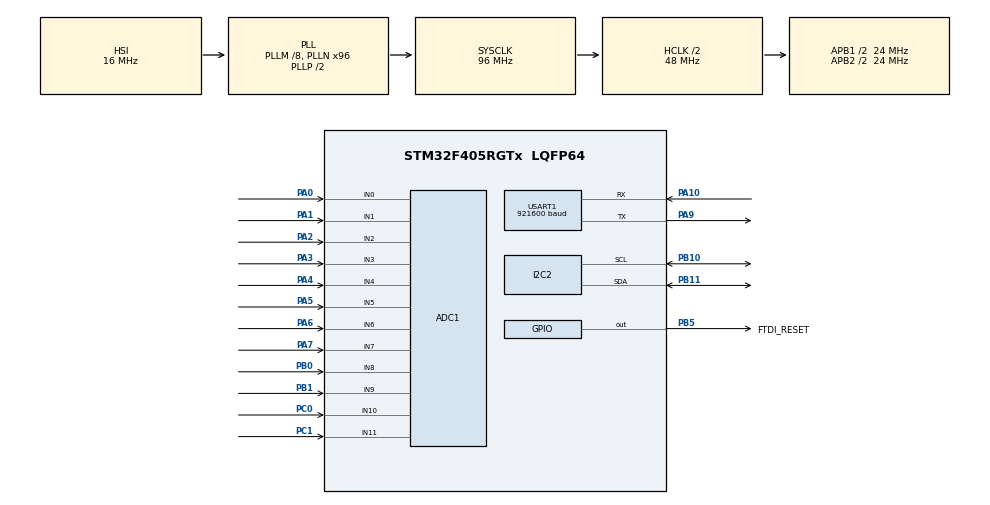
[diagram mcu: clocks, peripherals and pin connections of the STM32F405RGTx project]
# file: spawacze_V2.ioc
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ADC1.Channel-0\#ChannelRegularConversion=ADC_CHANNEL_0
ADC1.Channel-1\#ChannelRegularConversion=ADC_CHANNEL_1
ADC1.Channel-10\#ChannelRegularConversion=ADC_CHANNEL_10
ADC1.Channel-11\#ChannelRegularConversion=ADC_CHANNEL_11
ADC1.Channel-12\#ChannelRegularConversion=ADC_CHANNEL_TEMPSENSOR
ADC1.Channel-2\#ChannelRegularConversion=ADC_CHANNEL_2
ADC1.Channel-3\#ChannelRegularConversion=ADC_CHANNEL_3
ADC1.Channel-4\#ChannelRegularConversion=ADC_CHANNEL_4
ADC1.Channel-5\#ChannelRegularConversion=ADC_CHANNEL_5
ADC1.Channel-6\#ChannelRegularConversion=ADC_CHANNEL_6
ADC1.Channel-7\#ChannelRegularConversion=ADC_CHANNEL_7
ADC1.Channel-8\#ChannelRegularConversion=ADC_CHANNEL_8
ADC1.Channel-9\#ChannelRegularConversion=ADC_CHANNEL_9
ADC1.ContinuousConvMode=ENABLE
ADC1.DMAContinuousRequests=ENABLE
ADC1.ExternalTrigConv=ADC_SOFTWARE_START
ADC1.NbrOfConversion=13
ADC1.NbrOfConversionFlag=1
ADC1.Rank-0\#ChannelRegularConversion=1
ADC1.Rank-1\#ChannelRegularConversion=2
ADC1.Rank-10\#ChannelRegularConversion=11
ADC1.Rank-11\#ChannelRegularConversion=12
ADC1.Rank-12\#ChannelRegularConversion=13
ADC1.Rank-2\#ChannelRegularConversion=3
ADC1.Rank-3\#ChannelRegularConversion=4
ADC1.Rank-4\#ChannelRegularConversion=5
ADC1.Rank-5\#ChannelRegularConversion=6
ADC1.Rank-6\#ChannelRegularConversion=7
ADC1.Rank-7\#ChannelRegularConversion=8
ADC1.Rank-8\#ChannelRegularConversion=9
ADC1.Rank-9\#ChannelRegularConversion=10
ADC1.SamplingTime-0\#ChannelRegularConversion=ADC_SAMPLETIME_3CYCLES
ADC1.SamplingTime-1\#ChannelRegularConversion=ADC_SAMPLETIME_3CYCLES
ADC1.SamplingTime-10\#ChannelRegularConversion=ADC_SAMPLETIME_3CYCLES
ADC1.SamplingTime-11\#ChannelRegularConversion=ADC_SAMPLETIME_3CYCLES
ADC1.SamplingTime-12\#ChannelRegularConversion=ADC_SAMPLETIME_3CYCLES
ADC1.SamplingTime-2\#ChannelRegularConversion=ADC_SAMPLETIME_3CYCLES
ADC1.SamplingTime-3\#ChannelRegularConversion=ADC_SAMPLETIME_3CYCLES
ADC1.SamplingTime-4\#ChannelRegularConversion=ADC_SAMPLETIME_3CYCLES
ADC1.SamplingTime-5\#ChannelRegularConversion=ADC_SAMPLETIME_3CYCLES
ADC1.SamplingTime-6\#ChannelRegularConversion=ADC_SAMPLETIME_3CYCLES
ADC1.SamplingTime-7\#ChannelRegularConversion=ADC_SAMPLETIME_3CYCLES
ADC1.SamplingTime-8\#ChannelRegularConversion=ADC_SAMPLETIME_3CYCLES
ADC1.SamplingTime-9\#ChannelRegularConversion=ADC_SAMPLETIME_3CYCLES
ADC1.ScanConvMode=ENABLE
ADC1.master=1
Dma.ADC1.0.Direction=DMA_PERIPH_TO_MEMORY
Dma.ADC1.0.FIFOMode=DMA_FIFOMODE_DISABLE
Dma.ADC1.0.Instance=DMA2_Stream0
Dma.ADC1.0.MemDataAlignment=DMA_MDATAALIGN_HALFWORD
Dma.ADC1.0.MemInc=DMA_MINC_ENABLE
Dma.ADC1.0.Mode=DMA_CIRCULAR
Dma.ADC1.0.PeriphDataAlignment=DMA_PDATAALIGN_HALFWORD
Dma.ADC1.0.PeriphInc=DMA_PINC_DISABLE
Dma.ADC1.0.Priority=DMA_PRIORITY_LOW
Dma.I2C2_RX.2.Direction=DMA_PERIPH_TO_MEMORY
Dma.I2C2_RX.2.FIFOMode=DMA_FIFOMODE_DISABLE
Dma.I2C2_RX.2.Instance=DMA1_Stream2
Dma.I2C2_RX.2.MemDataAlignment=DMA_MDATAALIGN_BYTE
Dma.I2C2_RX.2.MemInc=DMA_MINC_ENABLE
Dma.I2C2_RX.2.Mode=DMA_NORMAL
Dma.I2C2_RX.2.PeriphDataAlignment=DMA_PDATAALIGN_BYTE
Dma.I2C2_RX.2.PeriphInc=DMA_PINC_DISABLE
Dma.I2C2_RX.2.Priority=DMA_PRIORITY_MEDIUM
Dma.I2C2_TX.3.Direction=DMA_MEMORY_TO_PERIPH
Dma.I2C2_TX.3.FIFOMode=DMA_FIFOMODE_DISABLE
Dma.I2C2_TX.3.Instance=DMA1_Stream7
Dma.I2C2_TX.3.MemDataAlignment=DMA_MDATAALIGN_BYTE
Dma.I2C2_TX.3.MemInc=DMA_MINC_ENABLE
Dma.I2C2_TX.3.Mode=DMA_NORMAL
Dma.I2C2_TX.3.PeriphDataAlignment=DMA_PDATAALIGN_BYTE
Dma.I2C2_TX.3.PeriphInc=DMA_PINC_DISABLE
Dma.I2C2_TX.3.Priority=DMA_PRIORITY_MEDIUM
Dma.Request0=ADC1
Dma.Request1=USART1_TX
Dma.Request2=I2C2_RX
Dma.Request3=I2C2_TX
Dma.USART1_TX.1.Direction=DMA_MEMORY_TO_PERIPH
Dma.USART1_TX.1.FIFOMode=DMA_FIFOMODE_DISABLE
Dma.USART1_TX.1.Instance=DMA2_Stream7
Dma.USART1_TX.1.MemDataAlignment=DMA_MDATAALIGN_BYTE
Dma.USART1_TX.1.MemInc=DMA_MINC_ENABLE
Dma.USART1_TX.1.Mode=DMA_NORMAL
Dma.USART1_TX.1.PeriphDataAlignment=DMA_PDATAALIGN_BYTE
Dma.USART1_TX.1.PeriphInc=DMA_PINC_DISABLE
Dma.USART1_TX.1.Priority=DMA_PRIORITY_LOW
Mcu.Family=STM32F4
Mcu.Name=STM32F405RGTx
Mcu.Package=LQFP64
NVIC.DMA1_Stream2_IRQn=true\:0\:0\:false\:false\:true\:false\:true
NVIC.DMA1_Stream7_IRQn=true\:0\:0\:false\:false\:true\:false\:true
NVIC.DMA2_Stream0_IRQn=true\:0\:0\:false\:false\:true\:false\:true
NVIC.DMA2_Stream7_IRQn=true\:0\:0\:false\:false\:true\:false\:true
NVIC.I2C2_EV_IRQn=true\:2\:0\:true\:false\:true\:true\:true
NVIC.PriorityGroup=NVIC_PRIORITYGROUP_4
NVIC.TIM2_IRQn=true\:0\:0\:false\:false\:true\:true\:true
NVIC.USART1_IRQn=true\:1\:0\:true\:false\:true\:true\:true
PA0-WKUP.Signal=ADCx_IN0
PA1.Signal=ADCx_IN1
PA10.Mode=Asynchronous
PA10.Signal=USART1_RX
PA13.Mode=Serial_Wire
PA13.Signal=SYS_JTMS-SWDIO
PA14.Mode=Serial_Wire
PA14.Signal=SYS_JTCK-SWCLK
PA2.Signal=ADCx_IN2
PA3.Signal=ADCx_IN3
PA4.Signal=ADCx_IN4
PA5.Signal=ADCx_IN5
PA6.Signal=ADCx_IN6
PA7.Signal=ADCx_IN7
PA9.Mode=Asynchronous
PA9.Signal=USART1_TX
PB0.Signal=ADCx_IN8
PB1.Signal=ADCx_IN9
PB10.GPIO_PuPdOD=GPIO_NOPULL
PB10.GPIO_Speed=GPIO_SPEED_FREQ_LOW
PB10.Mode=I2C
PB10.Signal=I2C2_SCL
PB11.GPIO_PuPdOD=GPIO_NOPULL
PB11.GPIO_Speed=GPIO_SPEED_FREQ_LOW
PB11.Mode=I2C
PB11.Signal=I2C2_SDA
PB5.GPIO_Label=FTDI_RESET
PB5.PinState=GPIO_PIN_SET
PB5.Signal=GPIO_Output
PC0.Signal=ADCx_IN10
PC1.Signal=ADCx_IN11
PH0-OSC_IN.Mode=HSE-External-Clock-Source
PH0-OSC_IN.Signal=RCC_OSC_IN
PH1-OSC_OUT.Mode=HSE-External-Clock-Source
PH1-OSC_OUT.Signal=RCC_OSC_OUT
ProjectManager.HeapSize=0x200
ProjectManager.StackSize=0x400
ProjectManager.TargetToolchain=SW4STM32
RCC.48MHZClocksFreq_Value=48000000
RCC.AHBCLKDivider=RCC_SYSCLK_DIV2
RCC.AHBFreq_Value=48000000
RCC.APB1CLKDivider=RCC_HCLK_DIV2
RCC.APB1Freq_Value=24000000
RCC.APB1TimFreq_Value=48000000
RCC.APB2CLKDivider=RCC_HCLK_DIV2
RCC.APB2Freq_Value=24000000
RCC.APB2TimFreq_Value=48000000
RCC.CortexFreq_Value=48000000
RCC.HCLKFreq_Value=48000000
RCC.HSE_VALUE=16800000
RCC.HSI_VALUE=16000000
RCC.LSE_VALUE=32768
RCC.PLLM=8
RCC.PLLN=96
RCC.SYSCLKFreq_VALUE=96000000
RCC.SYSCLKSource=RCC_SYSCLKSOURCE_PLLCLK
RCC.VCOOutputFreq_Value=192000000
SH.ADCx_IN0.0=ADC1_IN0,IN0
SH.ADCx_IN1.0=ADC1_IN1,IN1
SH.ADCx_IN10.0=ADC1_IN10,IN10
SH.ADCx_IN11.0=ADC1_IN11,IN11
SH.ADCx_IN2.0=ADC1_IN2,IN2
SH.ADCx_IN3.0=ADC1_IN3,IN3
SH.ADCx_IN4.0=ADC1_IN4,IN4
SH.ADCx_IN5.0=ADC1_IN5,IN5
SH.ADCx_IN6.0=ADC1_IN6,IN6
SH.ADCx_IN7.0=ADC1_IN7,IN7
SH.ADCx_IN8.0=ADC1_IN8,IN8
SH.ADCx_IN9.0=ADC1_IN9,IN9
TIM2.Period=2
TIM2.Prescaler=8400
TIM2.TIM_MasterOutputTrigger=TIM_TRGO_UPDATE
USART1.BaudRate=921600
USART1.VirtualMode=VM_ASYNC
VP_ADC1_TempSens_Input.Mode=IN-TempSens
VP_TIM2_VS_ClockSourceINT.Mode=Internal
board=custom

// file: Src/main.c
/* USER CODE BEGIN Header */
/**
  ******************************************************************************
  * @file           : main.c
  * @brief          : Main program body
  ******************************************************************************
  * @attention
  *
  * <h2><center>&copy; Copyright (c) 2019 STMicroelectronics.
  * All rights reserved.</center></h2>
  *
  * This software component is licensed by ST under BSD 3-Clause license,
  * the "License"; You may not use this file except in compliance with the
  * License. You may obtain a copy of the License at:
  *                        opensource.org/licenses/BSD-3-Clause
  *
  ******************************************************************************
  */
/* USER CODE END Header */

#include "main.h"
#include "adc.h"
#include "dma.h"
#include "i2c.h"
#include "tim.h"
#include "usart.h"
#include "gpio.h"

/* USER CODE BEGIN Includes */
#include "MCP4661.h"
#include "UART_Parser.h"
/* USER CODE END Includes */

void SystemClock_Config(void);

/* USER CODE BEGIN 0 */
uint16_t adcValue[13];
float adcValueFloat[13];
extern uint8_t receivedData;
uint8_t measureFlag = 0;
/* USER CODE END 0 */

int main(void)
{

  /* MCU Configuration--------------------------------------------------------*/

  /* Reset of all peripherals, Initializes the Flash interface and the Systick. */
  HAL_Init();

  /* Configure the system clock */
  SystemClock_Config();

  /* Initialize all configured peripherals */
  MX_GPIO_Init();
  MX_DMA_Init();
  MX_I2C2_Init();
  MX_ADC1_Init();
  MX_USART1_UART_Init();
  MX_TIM2_Init();
  /* USER CODE BEGIN 2 */
 // HAL_GPIO_WritePin(FTDI_RESET_GPIO_Port,FTDI_RESET_Pin,GPIO_PIN_SET);
  HAL_TIM_Base_Start_IT(&htim2);
  HAL_ADC_Start_DMA(&hadc1,adcValue,13);
  HAL_UART_Receive_IT(&huart1, &receivedData, 1);
  uint8_t buffer[] = "test\n\r";
  /* USER CODE END 2 */

  /* Infinite loop */
  /* USER CODE BEGIN WHILE */
  while (1)
  {

//	  HAL_UART_Transmit(&huart1,buffer,sizeof(buffer),1);
//	  HAL_Delay(100);
//	  continue;
	  HAL_UART_Transmit_DMA(&huart1,buffer,sizeof(buffer));
	  for(uint16_t i = 0;i < 0x100;i++)
	  {
	//	  MCP4661_IncrementWiper(0,0);
	//	  MCP4661_IncrementWiper(0,1);
//
//		MCP4661_IncrementWiper(1,1);
//		MCP4661_IncrementWiper(1,0);
//		MCP4661_IncrementWiper(2,1);
//		MCP4661_IncrementWiper(2,0);
//		MCP4661_IncrementWiper(3,1);
//		MCP4661_IncrementWiper(3,0);
//		MCP4661_IncrementWiper(4,1);
//		MCP4661_IncrementWiper(4,0);
//		MCP4661_IncrementWiper(5,1);
//		MCP4661_IncrementWiper(5,0);
//		MCP4661_IncrementWiper(6,1);
//		MCP4661_IncrementWiper(6,0);
		  HAL_Delay(50);
		  for(uint8_t i = 0; i < 13;i++)
		   	 			  {
		   	 				  adcValueFloat[i]=(adcValue[i]/4096.0)*3.3;
		   	 			  }

	  }
	  for(uint16_t i = 0;i < 0x100;i++)
	 	  {
	//	  MCP4661_DecrementWiper(0,0);
		//  MCP4661_DecrementWiper(0,1);

//		MCP4661_DecrementWiper(1,1);
//		MCP4661_DecrementWiper(1,0);
//		MCP4661_DecrementWiper(2,1);
//		MCP4661_DecrementWiper(2,0);
//		MCP4661_DecrementWiper(3,1);
//		MCP4661_DecrementWiper(3,0);
//		MCP4661_DecrementWiper(4,1);
//		MCP4661_DecrementWiper(4,0);
//		MCP4661_DecrementWiper(5,1);
//		MCP4661_DecrementWiper(5,0);
//		MCP4661_DecrementWiper(6,1);
//		MCP4661_DecrementWiper(6,0);
	 		  HAL_Delay(50);

	 		 for(uint8_t i = 0; i < 13;i++)
	 		  	 			  {
	 		  	 				  adcValueFloat[i]=(adcValue[i]/4096.0)*3.3;
	 		  	 			  }

	 	  }

    /* USER CODE END WHILE */

  }
}

void SystemClock_Config(void)
{
  RCC_OscInitTypeDef RCC_OscInitStruct = {0};
  RCC_ClkInitTypeDef RCC_ClkInitStruct = {0};

  /** Configure the main internal regulator output voltage
  */
  __HAL_RCC_PWR_CLK_ENABLE();
  __HAL_PWR_VOLTAGESCALING_CONFIG(PWR_REGULATOR_VOLTAGE_SCALE1);
  /** Initializes the CPU, AHB and APB busses clocks
  */
  RCC_OscInitStruct.OscillatorType = RCC_OSCILLATORTYPE_HSI;
  RCC_OscInitStruct.HSIState = RCC_HSI_ON;
  RCC_OscInitStruct.HSICalibrationValue = RCC_HSICALIBRATION_DEFAULT;
  RCC_OscInitStruct.PLL.PLLState = RCC_PLL_ON;
  RCC_OscInitStruct.PLL.PLLSource = RCC_PLLSOURCE_HSI;
  RCC_OscInitStruct.PLL.PLLM = 8;
  RCC_OscInitStruct.PLL.PLLN = 96;
  RCC_OscInitStruct.PLL.PLLP = RCC_PLLP_DIV2;
  RCC_OscInitStruct.PLL.PLLQ = 4;
  if (HAL_RCC_OscConfig(&RCC_OscInitStruct) != HAL_OK)
  {
    Error_Handler();
  }
  /** Initializes the CPU, AHB and APB busses clocks
  */
  RCC_ClkInitStruct.ClockType = RCC_CLOCKTYPE_HCLK|RCC_CLOCKTYPE_SYSCLK
                              |RCC_CLOCKTYPE_PCLK1|RCC_CLOCKTYPE_PCLK2;
  RCC_ClkInitStruct.SYSCLKSource = RCC_SYSCLKSOURCE_PLLCLK;
  RCC_ClkInitStruct.AHBCLKDivider = RCC_SYSCLK_DIV2;
  RCC_ClkInitStruct.APB1CLKDivider = RCC_HCLK_DIV2;
  RCC_ClkInitStruct.APB2CLKDivider = RCC_HCLK_DIV2;

  if (HAL_RCC_ClockConfig(&RCC_ClkInitStruct, FLASH_LATENCY_1) != HAL_OK)
  {
    Error_Handler();
  }
}

void Error_Handler(void)
{
}

/************************ (C) COPYRIGHT STMicroelectronics *****END OF FILE****/
